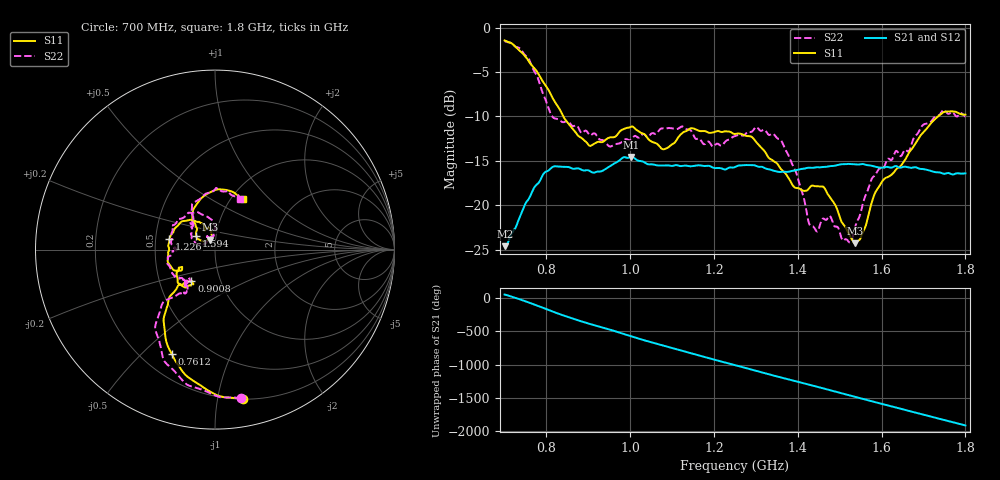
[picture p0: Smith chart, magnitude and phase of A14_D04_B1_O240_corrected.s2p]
! Created with skrf 1.9.0 (http://scikit-rf.org).
# Hz S RI R 50.0
!freq ReS11 ImS11 ReS21 ImS21 ReS12 ImS12 ReS22 ImS22
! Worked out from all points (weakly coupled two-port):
!   1601 points, 700 MHz to 1.8 GHz, reference 50 ohm
!   highest |S21| = -14.57 dB at 1.002 GHz (marker M1); lowest = -24.6 dB at 701.4 MHz (marker M2)
!   lowest |S11| = -24.3 dB at 1.536 GHz (marker M3), VSWR 1.13, Z = 47.2 + j5.21 ohm
!   |S11| at or under -10 dB: 840.3 MHz to 1.735 GHz (894.5 MHz wide, 69.5 % of centre)
!   |S22| runs from -24.2 to -1.5 dB; largest |S21 - S12| = 0.0034
!   S11 on the Smith chart (normalised r, x): 700 MHz: 0.20, -1.19; 761.2 MHz: 0.32, -0.62; 900.8 MHz: 0.73, -0.27; 1.226 GHz: 0.59, +0.07; 1.594 GHz: 0.80, +0.12; 1.8 GHz: 1.13, +0.71
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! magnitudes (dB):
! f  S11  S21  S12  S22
! 700 MHz  -1.4  -24.6  -24.4  -1.5
! 701.4 MHz  -1.5  -24.6  -24.2  -1.5
! 761.2 MHz  -4.0  -19.0  -18.9  -3.9
! 814.1 MHz  -7.9  -15.7  -15.7  -10.0
! 883.6 MHz  -12.4  -16.0  -15.9  -11.9
! 900.8 MHz  -13.2  -16.1  -16.1  -12.0
! 1.002 GHz  -11.1  -14.6  -14.7  -12.6
! 1.067 GHz  -13.2  -15.5  -15.5  -11.7
! 1.145 GHz  -11.3  -15.6  -15.6  -11.6
! 1.226 GHz  -11.7  -16.0  -15.9  -12.9
! 1.25 GHz  -12.0  -15.7  -15.6  -12.2
! 1.302 GHz  -12.9  -15.6  -15.5  -11.2
! 1.359 GHz  -15.9  -16.2  -16.2  -12.7
! 1.394 GHz  -18.0  -16.1  -16.1  -16.1
! 1.434 GHz  -17.8  -15.8  -15.7  -22.3
! 1.464 GHz  -18.1  -15.7  -15.7  -21.6
! 1.522 GHz  -23.2  -15.3  -15.4  -24.1
! 1.536 GHz  -24.3  -15.4  -15.4  -22.6
! 1.594 GHz  -17.9  -15.8  -15.7  -15.9
! 1.617 GHz  -16.8  -15.7  -15.7  -14.8
! 1.74 GHz  -9.8  -16.3  -16.3  -9.7
! 1.8 GHz  -9.8  -16.4  -16.4  -10.0
